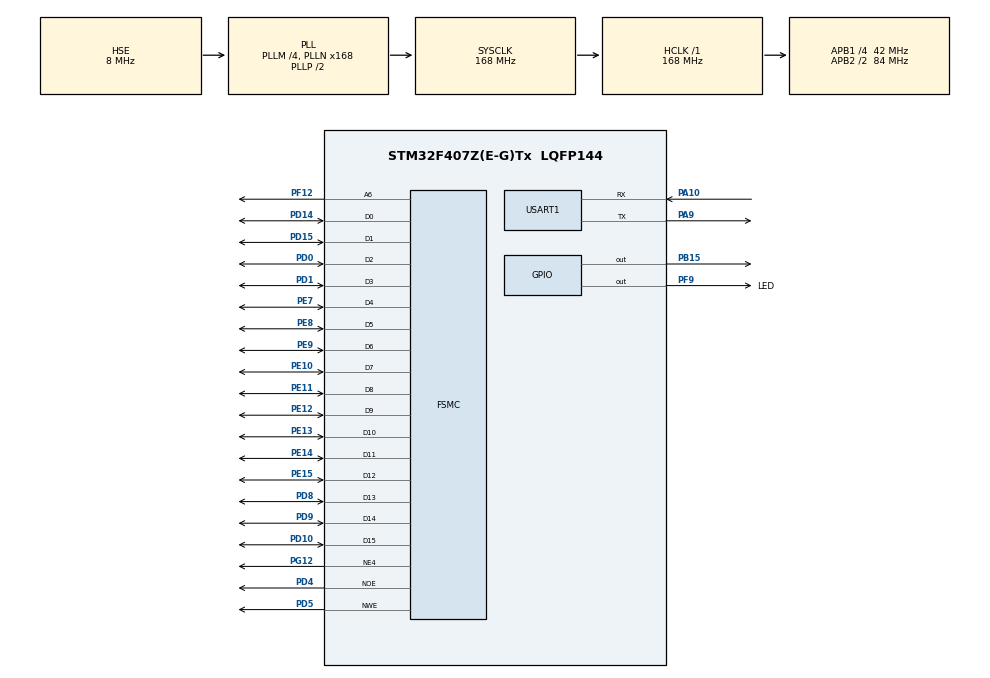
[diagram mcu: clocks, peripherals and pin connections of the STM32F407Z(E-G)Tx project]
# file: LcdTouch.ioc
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FSMC.BusTurnAroundDuration1=0
FSMC.DataSetupTime1=60
FSMC.ExtendedAddressSetupTime1=9
FSMC.ExtendedBusTurnAroundDuration1=0
FSMC.ExtendedDataSetupTime1=8
FSMC.ExtendedMode1=FSMC_EXTENDED_MODE_ENABLE
Mcu.Family=STM32F4
Mcu.Name=STM32F407Z(E-G)Tx
Mcu.Package=LQFP144
NVIC.PriorityGroup=NVIC_PRIORITYGROUP_4
PA10.Mode=Asynchronous
PA10.Signal=USART1_RX
PA13.Mode=Serial_Wire
PA13.Signal=SYS_JTMS-SWDIO
PA14.Mode=Serial_Wire
PA14.Signal=SYS_JTCK-SWCLK
PA9.Mode=Asynchronous
PA9.Signal=USART1_TX
PB15.Signal=GPIO_Output
PC14-OSC32_IN.Mode=LSE-External-Oscillator
PC14-OSC32_IN.Signal=RCC_OSC32_IN
PC15-OSC32_OUT.Mode=LSE-External-Oscillator
PC15-OSC32_OUT.Signal=RCC_OSC32_OUT
PD0.Signal=FSMC_D2_DA2
PD1.Signal=FSMC_D3_DA3
PD10.Signal=FSMC_D15_DA15
PD14.Signal=FSMC_D0_DA0
PD15.Signal=FSMC_D1_DA1
PD4.Signal=FSMC_NOE
PD5.Signal=FSMC_NWE
PD8.Signal=FSMC_D13_DA13
PD9.Signal=FSMC_D14_DA14
PE10.Signal=FSMC_D7_DA7
PE11.Signal=FSMC_D8_DA8
PE12.Signal=FSMC_D9_DA9
PE13.Signal=FSMC_D10_DA10
PE14.Signal=FSMC_D11_DA11
PE15.Signal=FSMC_D12_DA12
PE7.Signal=FSMC_D4_DA4
PE8.Signal=FSMC_D5_DA5
PE9.Signal=FSMC_D6_DA6
PF12.Signal=FSMC_A6
PF9.GPIO_Label=LED
PF9.Signal=GPIO_Output
PG12.Mode=NorPsramChipSelect4_1
PG12.Signal=FSMC_NE4
PH0-OSC_IN.Mode=HSE-External-Oscillator
PH0-OSC_IN.Signal=RCC_OSC_IN
PH1-OSC_OUT.Mode=HSE-External-Oscillator
PH1-OSC_OUT.Signal=RCC_OSC_OUT
ProjectManager.HeapSize=0x200
ProjectManager.StackSize=0x400
ProjectManager.TargetToolchain=MDK-ARM V5.32
RCC.48MHZClocksFreq_Value=84000000
RCC.AHBFreq_Value=168000000
RCC.APB1CLKDivider=RCC_HCLK_DIV4
RCC.APB1Freq_Value=42000000
RCC.APB1TimFreq_Value=84000000
RCC.APB2CLKDivider=RCC_HCLK_DIV2
RCC.APB2Freq_Value=84000000
RCC.APB2TimFreq_Value=168000000
RCC.CortexFreq_Value=168000000
RCC.HCLKFreq_Value=168000000
RCC.HSE_VALUE=8000000
RCC.HSI_VALUE=16000000
RCC.PLLM=4
RCC.PLLN=168
RCC.PLLSourceVirtual=RCC_PLLSOURCE_HSE
RCC.SYSCLKFreq_VALUE=168000000
RCC.SYSCLKSource=RCC_SYSCLKSOURCE_PLLCLK
RCC.VCOOutputFreq_Value=336000000
SH.FSMC_A6.0=FSMC_A6,A6_1
SH.FSMC_D0_DA0.0=FSMC_D0,16b-d1
SH.FSMC_D10_DA10.0=FSMC_D10,16b-d1
SH.FSMC_D11_DA11.0=FSMC_D11,16b-d1
SH.FSMC_D12_DA12.0=FSMC_D12,16b-d1
SH.FSMC_D13_DA13.0=FSMC_D13,16b-d1
SH.FSMC_D14_DA14.0=FSMC_D14,16b-d1
SH.FSMC_D15_DA15.0=FSMC_D15,16b-d1
SH.FSMC_D1_DA1.0=FSMC_D1,16b-d1
SH.FSMC_D2_DA2.0=FSMC_D2,16b-d1
SH.FSMC_D3_DA3.0=FSMC_D3,16b-d1
SH.FSMC_D4_DA4.0=FSMC_D4,16b-d1
SH.FSMC_D5_DA5.0=FSMC_D5,16b-d1
SH.FSMC_D6_DA6.0=FSMC_D6,16b-d1
SH.FSMC_D7_DA7.0=FSMC_D7,16b-d1
SH.FSMC_D8_DA8.0=FSMC_D8,16b-d1
SH.FSMC_D9_DA9.0=FSMC_D9,16b-d1
SH.FSMC_NOE.0=FSMC_NOE,Lcd1
SH.FSMC_NWE.0=FSMC_NWE,Lcd1
USART1.VirtualMode=VM_ASYNC
board=custom

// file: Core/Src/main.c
/* USER CODE BEGIN Header */
/**
  ******************************************************************************
  * @file           : main.c
  * @brief          : Main program body
  ******************************************************************************
  * @attention
  *
  * Copyright (c) 2023 STMicroelectronics.
  * All rights reserved.
  *
  * This software is licensed under terms that can be found in the LICENSE file
  * in the root directory of this software component.
  * If no LICENSE file comes with this software, it is provided AS-IS.
  *
  ******************************************************************************
  */
/* USER CODE END Header */
#include "main.h"
#include "usart.h"
#include "gpio.h"
#include "fsmc.h"

/* USER CODE BEGIN Includes */
#include "sys.h"
#include "delay.h"
#include "lcd.h"
#include "touch.h"
/* USER CODE END Includes */

void SystemClock_Config(void);

int main(void)
{

  /* MCU Configuration--------------------------------------------------------*/

  /* Reset of all peripherals, Initializes the Flash interface and the Systick. */
  HAL_Init();

  /* Configure the system clock */
  SystemClock_Config();

  /* Initialize all configured peripherals */
  MX_GPIO_Init();
  MX_USART1_UART_Init();
  MX_FSMC_Init();
  /* USER CODE BEGIN 2 */
    uint8_t key = 0;
    uint16_t t = 0;
    uint8_t i = 0;

    lcd_init();                     /* 初始化LCD */
    tp_dev.init();                  /* 触摸屏初始化 */

    lcd_clear(WHITE);               /* 清屏为白色 */

    /* 显示标题 */
    lcd_show_string(10, 10, 200, 16, 16, "STM32F407 Touch Test", RED);
    lcd_show_string(10, 30, 200, 16, 16, "ALIENTEK", RED);
    lcd_show_string(10, 50, 200, 16, 16, "Touch the screen!", BLUE);

    /* 显示触摸点提示 */
    lcd_show_string(10, 70, 200, 16, 16, "Touch Coordinates:", BLACK);

  /* USER CODE END  2 */

  /* Infinite loop */
  while (1)
  {

    /* USER CODE BEGIN 3 */
    key = tp_dev.scan(0);           /* 扫描触摸屏 */

    if(key)
    {
        /* 显示触摸坐标 */
        lcd_show_xnum(10, 90, tp_dev.x[0], 4, 16, 0, BLUE);
        lcd_show_string(60, 90, 10, 16, 16, ",", BLACK);
        lcd_show_xnum(70, 90, tp_dev.y[0], 4, 16, 0, BLUE);

        /* 在触摸点绘制小圆圈 */
        lcd_draw_circle(tp_dev.x[0], tp_dev.y[0], 5, RED);
    }

    t++;
    if(t == 20)
    {
        t = 0;
        i++;
        /* LED闪烁表示运行正常 */
        if(i % 2)
        {
            HAL_GPIO_WritePin(GPIOF, GPIO_PIN_9, GPIO_PIN_RESET);  /* LED0亮 */
        }
        else
        {
            HAL_GPIO_WritePin(GPIOF, GPIO_PIN_9, GPIO_PIN_SET);    /* LED0灭 */
        }
    }

    HAL_Delay(10);  /* 延时10ms */
  }
  /* USER CODE END 3 */
}

void SystemClock_Config(void)
{
  RCC_OscInitTypeDef RCC_OscInitStruct = {0};
  RCC_ClkInitTypeDef RCC_ClkInitStruct = {0};

  /** Configure the main internal regulator output voltage
  */
  __HAL_RCC_PWR_CLK_ENABLE();
  __HAL_PWR_VOLTAGESCALING_CONFIG(PWR_REGULATOR_VOLTAGE_SCALE1);

  /** Initializes the RCC Oscillators according to the specified parameters
  * in the RCC_OscInitTypeDef structure.
  */
  RCC_OscInitStruct.OscillatorType = RCC_OSCILLATORTYPE_HSE;
  RCC_OscInitStruct.HSEState = RCC_HSE_ON;
  RCC_OscInitStruct.PLL.PLLState = RCC_PLL_ON;
  RCC_OscInitStruct.PLL.PLLSource = RCC_PLLSOURCE_HSE;
  RCC_OscInitStruct.PLL.PLLM = 4;
  RCC_OscInitStruct.PLL.PLLN = 168;
  RCC_OscInitStruct.PLL.PLLP = RCC_PLLP_DIV2;
  RCC_OscInitStruct.PLL.PLLQ = 4;
  if (HAL_RCC_OscConfig(&RCC_OscInitStruct) != HAL_OK)
  {
    Error_Handler();
  }

  /** Initializes the CPU, AHB and APB buses clocks
  */
  RCC_ClkInitStruct.ClockType = RCC_CLOCKTYPE_HCLK|RCC_CLOCKTYPE_SYSCLK
                              |RCC_CLOCKTYPE_PCLK1|RCC_CLOCKTYPE_PCLK2;
  RCC_ClkInitStruct.SYSCLKSource = RCC_SYSCLKSOURCE_PLLCLK;
  RCC_ClkInitStruct.AHBCLKDivider = RCC_SYSCLK_DIV1;
  RCC_ClkInitStruct.APB1CLKDivider = RCC_HCLK_DIV4;
  RCC_ClkInitStruct.APB2CLKDivider = RCC_HCLK_DIV2;

  if (HAL_RCC_ClockConfig(&RCC_ClkInitStruct, FLASH_LATENCY_5) != HAL_OK)
  {
    Error_Handler();
  }
}

void Error_Handler(void)
{
  __disable_irq();
  while (1)
  {
  }
}
